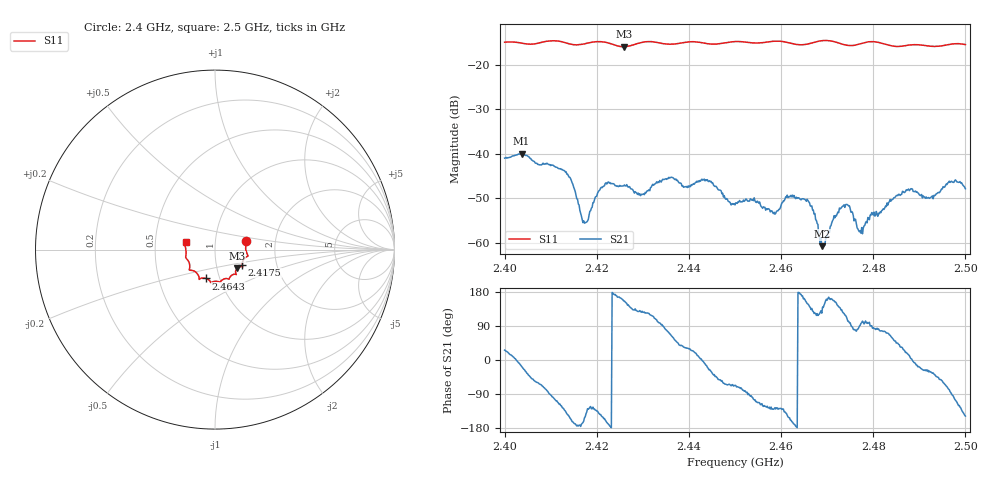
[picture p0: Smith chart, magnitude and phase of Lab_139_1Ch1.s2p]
# Hz S RI R 50
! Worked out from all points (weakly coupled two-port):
!   601 points, 2.4 GHz to 2.5 GHz, reference 50 ohm
!   highest |S21| = -39.98 dB at 2.4037 GHz (marker M1); lowest = -60.8 dB at 2.4688 GHz (marker M2)
!   lowest |S11| = -15.9 dB at 2.4258 GHz (marker M3), VSWR 1.38, Z = 62.3 - j13.3 ohm
!   |S11| at or under -10 dB: start of sweep to end of sweep
!   S12 and S22 are empty: the file has one direction only
!   S11 on the Smith chart (normalised r, x): 2.4 GHz: 1.41, +0.14; 2.4175 GHz: 1.34, -0.23; 2.4643 GHz: 0.86, -0.28; 2.5 GHz: 0.72, +0.06
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2.4e9  0.1732 0.0488  0.008 0.00392  0 0  0 0
2.403667e9  0.1734 0.0289  0.00961 -0.00288  0 0  0 0
2.413167e9  0.1726 -0.0419  -0.00437 -0.00447  0 0  0 0
2.416667e9  0.1528 -0.0742  -0.00195 -0.000363  0 0  0 0
2.4175e9  0.1519 -0.0836  -0.00144 -0.000853  0 0  0 0
2.4215e9  0.1533 -0.0963  -0.00389 -0.00184  0 0  0 0
2.425833e9  0.1218 -0.1037  -0.00396 0.00178  0 0  0 0
2.429833e9  0.1169 -0.1358  -0.00218 0.00272  0 0  0 0
2.433333e9  0.1127 -0.1371  -0.000829 0.00472  0 0  0 0
2.444167e9  0.062 -0.1612  0.00453 -0.0018  0 0  0 0
2.45e9  0.0286 -0.1809  0.00105 -0.00244  0 0  0 0
2.458667e9  -0.0213 -0.1836  -0.00122 -0.00169  0 0  0 0
2.461333e9  -0.0275 -0.1768  -0.00283 -0.00191  0 0  0 0
2.464333e9  -0.0499 -0.1606  -0.003 0.000355  0 0  0 0
2.466667e9  -0.0761 -0.1592  -0.00186 0.00179  0 0  0 0
2.468833e9  -0.0877 -0.1655  -0.000503 0.000758  0 0  0 0
2.473167e9  -0.0923 -0.1451  -0.00169 0.00185  0 0  0 0
2.4745e9  -0.1017 -0.1309  -0.000557 0.00258  0 0  0 0
2.477167e9  -0.128 -0.116  -3.81e-05 0.00135  0 0  0 0
2.483333e9  -0.1406 -0.0897  0.000979 0.00264  0 0  0 0
2.488e9  -0.1599 -0.0503  0.0039 0.000479  0 0  0 0
2.5e9  -0.1637 0.0426  -0.00341 -0.00214  0 0  0 0
